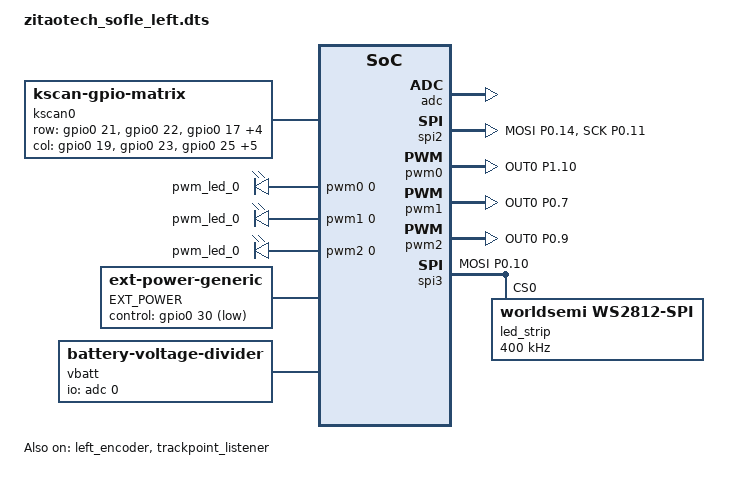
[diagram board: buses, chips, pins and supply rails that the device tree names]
/*
*
* Copyright (c) 2025 ZitaoTech
* SPDX-License-Identifier: MIT
*
*/

#include "zitaotech_sofle.dtsi"
#include <zephyr/dt-bindings/input/input-event-codes.h>

#define MOUSE_LAYER_ID 2

/* 定义临时层切换 input-processor */
/ {
    zip_temp_layer: zip_temp_layer {
        compatible = "zmk,input-processor-temp-layer";
        #input-processor-cells = <2>;
    };
};


/ {
    chosen {
        zmk,backlight = &backlight;
        zmk,battery = &vbatt;
        zmk,underglow = &led_strip;
        zmk,keyboard_backlight = &keyboard_backlight;
    };
    kscan0: kscan {
        compatible = "zmk,kscan-gpio-matrix";
        diode-direction = "col2row";
        wakeup-source;
        row-gpios
            = <&gpio0 21 (GPIO_ACTIVE_HIGH | GPIO_PULL_DOWN)>
            , <&gpio0 22  (GPIO_ACTIVE_HIGH | GPIO_PULL_DOWN)>
            , <&gpio0 17 (GPIO_ACTIVE_HIGH | GPIO_PULL_DOWN)>
            , <&gpio0 15  (GPIO_ACTIVE_HIGH | GPIO_PULL_DOWN)>
            , <&gpio0 13  (GPIO_ACTIVE_HIGH | GPIO_PULL_DOWN)>
            , <&gpio0 4  (GPIO_ACTIVE_HIGH | GPIO_PULL_DOWN)>
            , <&gpio0 26  (GPIO_ACTIVE_HIGH | GPIO_PULL_DOWN)>
            ;
        col-gpios
            = <&gpio0 19  GPIO_ACTIVE_HIGH>
            , <&gpio0 23  GPIO_ACTIVE_HIGH>
            , <&gpio0 25  GPIO_ACTIVE_HIGH>
            , <&gpio1 0 GPIO_ACTIVE_HIGH>
            , <&gpio0 24 GPIO_ACTIVE_HIGH>
            , <&gpio0 20 GPIO_ACTIVE_HIGH>
            , <&gpio0 8 GPIO_ACTIVE_HIGH>
            , <&gpio0 6 GPIO_ACTIVE_HIGH>
            ;
    };


    keyboard_backlight: pwmledfo{
        compatible = "pwm-leds";
        pwm_led_0 {
            pwms = <&pwm0 0 PWM_USEC(2000) PWM_POLARITY_NORMAL>;
        };
    };

    trackball_led: pwmledo{
        compatible = "pwm-leds";
        pwm_led_0 {
            pwms = <&pwm1 0 PWM_USEC(20) PWM_POLARITY_NORMAL>;
        };
    };

    backlight: pwmleds {
        compatible = "pwm-leds";
        pwm_led_0 {
            pwms = <&pwm2 0 PWM_MSEC(10) PWM_POLARITY_NORMAL>;
        };
    };
    EXT_POWER {
        compatible = "zmk,ext-power-generic";
        control-gpios = <&gpio0 30 GPIO_ACTIVE_LOW>;
    };
    vbatt: vbatt {
        compatible = "zmk,battery-voltage-divider";
        io-channels = <&adc 0>;
        output-ohms = <2000000>;
        full-ohms = <2820000>;  // 2000000 + 820000
    };
};


&adc {
    status = "okay";
};

&gpiote {
    status = "okay";
};

&gpio0 {
    status = "okay";
};

&gpio1 {
    status = "okay";
};

&spi2 {
    status = "okay";
};

&pwm0 {
    status = "okay";
    pinctrl-0 = <&pwm0_default>;
    pinctrl-1 = <&pwm0_sleep>;
    pinctrl-names = "default", "sleep";
};

&pwm1 {
    status = "okay";
    pinctrl-0 = <&pwm1_default>;
    pinctrl-1 = <&pwm1_sleep>;
    pinctrl-names = "default", "sleep";
};

&pwm2 {
    status = "okay";
    pinctrl-0 = <&pwm2_default>;
    pinctrl-1 = <&pwm2_sleep>;
    pinctrl-names = "default", "sleep";
};

&left_encoder {
    status = "okay";
};


/*&bbtrackball_listener {
    status = "okay";
};*/


/* 启用 trackpoint_listener，并绑定临时层切换处理器 */
&trackpoint_listener {
    status = "okay";
    input-processors = <&zip_temp_layer MOUSE_LAYER_ID 400>;
};
lpm_view_spi: &spi2 {
    compatible = "nordic,nrf-spim";
    pinctrl-0 = <&spi2_default>;
    pinctrl-1 = <&spi2_sleep>;
    pinctrl-names = "default", "sleep";
    cs-gpios = <&gpio1 8 (GPIO_ACTIVE_HIGH | GPIO_PULL_DOWN) >;
};

&spi3 {
    compatible = "nordic,nrf-spim";
    status = "okay";

    pinctrl-0 = <&spi3_default>;
    pinctrl-1 = <&spi3_sleep>;
    pinctrl-names = "default", "sleep";

    led_strip: ws2812@0 {
        compatible = "worldsemi,ws2812-spi";
        /* SPI */
        reg = <0>; /* ignored, but necessary for SPI bindings */
        spi-max-frequency = <400000>;
        /* WS2812 */
        chain-length = <1>; /* number of LEDs */
        spi-one-frame = <0x70>;
        spi-zero-frame = <0x40>;
        color-mapping = <LED_COLOR_ID_GREEN
                         LED_COLOR_ID_RED
                         LED_COLOR_ID_BLUE>;
    };
};

&pinctrl {
    pwm0_default:pwm0_default{
        group1{
            psels = <NRF_PSEL(PWM_OUT0, 1, 10)>; // keyboard backlight
        };
    };

    pwm0_sleep: pwm0_sleep {
        group1 {
            psels = <NRF_PSEL(PWM_OUT0, 1, 10)>;
            bias-pull-down;
        };
    };

    pwm1_default:pwm1_default{
        group1{
            psels = <NRF_PSEL(PWM_OUT0, 0, 7)>; // Backlight for Trackball
        };
    };

    pwm1_sleep: pwm1_sleep {
        group1 {
            psels = <NRF_PSEL(PWM_OUT0, 0, 7)>;
            bias-pull-down;
        };
    };

   pwm2_default: pwm2_default {
        group1 {
            psels = <NRF_PSEL(PWM_OUT0, 0, 9)>; // backlight unreal
        };
    };

    pwm2_sleep: pwm2_sleep {
        group1 {
            psels = <NRF_PSEL(PWM_OUT0, 0, 9)>;
            bias-pull-down;
        };
    };    
    spi2_default: spi2_default {
        group1 {
            psels = <NRF_PSEL(SPIM_MOSI, 0, 14)>,
            <NRF_PSEL(SPIM_SCK, 0, 11)>;
        };
    };
    spi2_sleep: spi2_sleep {
        group1 {
            psels = <NRF_PSEL(SPIM_MOSI, 0, 14)>,
            <NRF_PSEL(SPIM_SCK, 0, 11)>;
            low-power-enable;
        };
    };
    spi3_default: spi3_default {
        group1 {
            psels = <NRF_PSEL(SPIM_MOSI, 0, 10)>;    // Setting for RGB light, unreal
        };
    };

    spi3_sleep: spi3_sleep {
        group1 {
            psels = <NRF_PSEL(SPIM_MOSI, 0, 10)>;
            low-power-enable;
        };
    };
};

